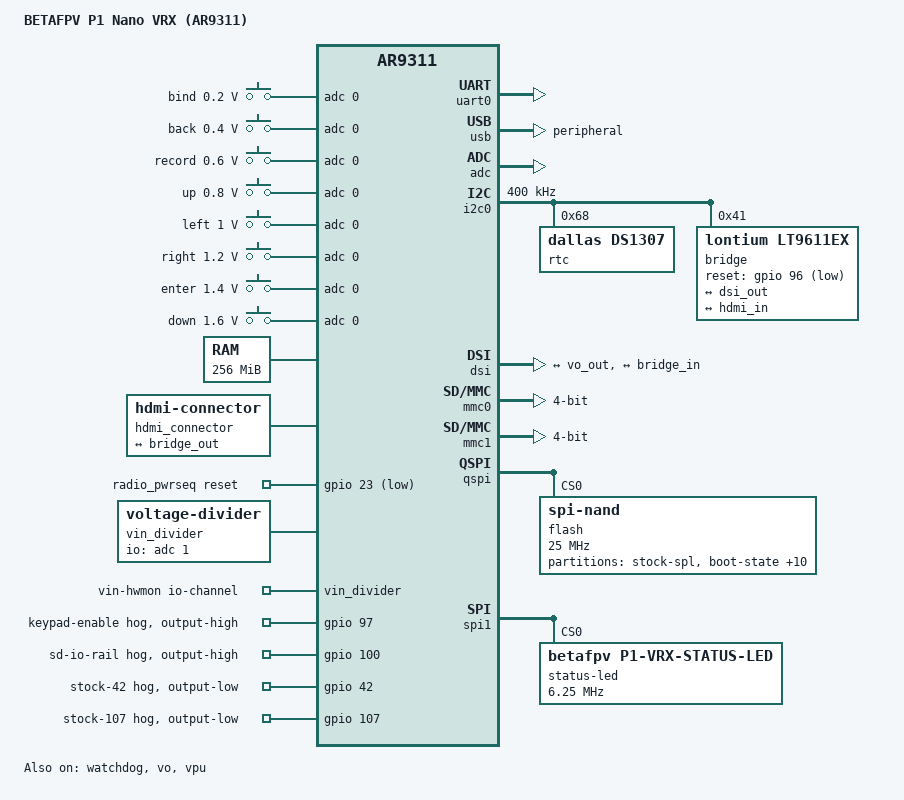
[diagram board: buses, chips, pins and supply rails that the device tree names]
// SPDX-License-Identifier: GPL-2.0-or-later
/* BETAFPV P1 Nano VRX (AR9311 + AR8030 over SDIO, stock board "c401",
 * hardware V2.3). Wiring from the unit's stock 2.0.8 device tree, startup
 * scripts and logs: radio reset GPIO23, SD I/O rail GPIO100, the P1 ADC key
 * ladder on channel 0, DSI to a Lontium LT9611EX HDMI bridge on I2C0 0x41
 * (interrupt GPIO94; reset GPIO96 is inferred from what stock exports).
 * Same SPL, A/B flash layout and CPU handoff as the P1 Air: fpvOS in the
 * bank stock is not running from, the stock firmware kept in the other.
 */
/dts-v1/;
#include "ar9311.dtsi"
#include <dt-bindings/input/input.h>

/ {
	model = "BETAFPV P1 Nano VRX (AR9311)";
	compatible = "betafpv,p1-nano-vrx", "artosyn,proxima-9311";

	aliases {
		serial0 = &uart0;
		i2c0 = &i2c0;
	};

	chosen {
		stdout-path = "serial0:1152000n8";
		bootargs = "console=ttyS0,1152000 earlycon loglevel=7 mem=148M rdinit=/init";
	};

	/* The SPL reads this word at reset; bit 0 requests its USB loader. */
	reboot-scratch@a106138 {
		compatible = "syscon", "simple-mfd";
		reg = <0 0x0a106138 0 4>;
		reboot-mode {
			compatible = "syscon-reboot-mode";
			offset = <0>;
			mode-normal = <2>;
			mode-bootloader = <3>;
		};
	};

	/* Stock's ladder: the same levels and keys as the P1 goggles, under the
	 * goggles' name - the evdev device kestrel-gnd's P1 keypad opens. */
	p1-goggle-keys {
		compatible = "adc-keys";
		io-channels = <&adc 0>;
		io-channel-names = "buttons";
		poll-interval = <10>;
		keyup-threshold-microvolt = <0>;
		button-bind { label = "bind"; linux,code = <KEY_CONNECT>; press-threshold-microvolt = <200000>; };
		button-back { label = "back"; linux,code = <KEY_BACK>; press-threshold-microvolt = <400000>; };
		button-record { label = "record"; linux,code = <KEY_RECORD>; press-threshold-microvolt = <600000>; };
		button-up { label = "up"; linux,code = <KEY_UP>; press-threshold-microvolt = <800000>; };
		button-left { label = "left"; linux,code = <KEY_LEFT>; press-threshold-microvolt = <1000000>; };
		button-right { label = "right"; linux,code = <KEY_RIGHT>; press-threshold-microvolt = <1200000>; };
		button-enter { label = "enter"; linux,code = <KEY_ENTER>; press-threshold-microvolt = <1400000>; };
		button-down { label = "down"; linux,code = <KEY_DOWN>; press-threshold-microvolt = <1600000>; };
	};

	/* Stock: 256 MiB DRAM, 148 MiB for Linux (mem=148m), the rest media. */
	memory@20000000 {
		device_type = "memory";
		reg = <0 0x20000000 0 0x10000000>;
	};
	reserved-memory {
		#address-cells = <2>;
		#size-cells = <2>;
		ranges;
		codec_memory: media@29400000 {
			compatible = "shared-dma-pool";
			reg = <0 0x29400000 0 0x06b00000>;
			no-map;
		};
		loader@2ff00000 {
			reg = <0 0x2ff00000 0 0x00100000>;
			no-map;
		};
	};

	hdmi_connector {
		compatible = "hdmi-connector";
		type = "a";
		port {
			hdmi_in: endpoint {
				remote-endpoint = <&bridge_out>;
			};
		};
	};

	/* Stock start_ar813x_gnd.sh resets the radio on GPIO23. */
	radio_pwrseq: radio-pwrseq {
		compatible = "artosyn,ar8030-pwrseq";
		reset-gpios = <&gpio 23 GPIO_ACTIVE_LOW>;
	};
};

&cpu0 { enable-method = "ar-spin-table"; };
&cpu1 {
	enable-method = "ar-spin-table";
	cpu-release-addr = <0 0x00100000>;
};
&uart0 { status = "okay"; };
&usb {
	status = "okay";
	dr_mode = "peripheral";
};
&watchdog { status = "okay"; };

/* The SoC temperature, for the receiver's canopy (fpvOS ar9311_temp). Its
 * window overlaps the SAR ADC's (the keypad's channel 0): no supply channel
 * is given here, so it never samples the ADC behind the keypad driver. */
&soc_temp {
	status = "okay";
};
&adc { status = "okay"; };

&gpio {
	status = "okay";
	/* Stock adc.sh enables the keypad on GPIO97 before reading ADC0. */
	keypad-enable-hog {
		gpio-hog;
		gpios = <97 GPIO_ACTIVE_HIGH>;
		output-high;
		line-name = "keypad-enable";
	};
	/* GPIO100 is the SD I/O rail (stock's "vqmmc sdmmc1", 3.3 V when high).
	 * Stock keeps it high.
	 */
	sd-io-rail-hog {
		gpio-hog;
		gpios = <100 GPIO_ACTIVE_HIGH>;
		output-high;
		line-name = "sd-io-rail";
	};
	/* Levels stock's video application leaves on lines 42 and 107
	 * (function on this board not identified), held the same way here.
	 */
	stock-42-hog {
		gpio-hog;
		gpios = <42 GPIO_ACTIVE_HIGH>;
		output-low;
		line-name = "stock-42";
	};
	stock-107-hog {
		gpio-hog;
		gpios = <107 GPIO_ACTIVE_HIGH>;
		output-low;
		line-name = "stock-107";
	};
};

/* Stock enables I2C0 (HDMI bridge) and I2C4 (nothing answers there).
 * I2C0 also has the battery-backed DS1307 at 0x68 that stock declares:
 * the system clock comes from it at boot, and SET_TIME writes it (UTC).
 */
&i2c0 {
	status = "okay";
	clock-frequency = <400000>;
	i2c-sda-hold-time-ns = <300>;
	i2c-sda-falling-time-ns = <300>;
	i2c-scl-falling-time-ns = <300>;

	rtc@68 {
		compatible = "dallas,ds1307";
		reg = <0x68>;
	};

	/* The bridge runs its own firmware: it follows the DSI input and
	 * does the DDC itself. The host resets it, asks it for hot-plug and
	 * the EDID, and turns the HDMI output on and off.
	 */
	bridge@41 {
		compatible = "lontium,lt9611ex";
		reg = <0x41>;
		reset-gpios = <&gpio 96 GPIO_ACTIVE_LOW>;
		/* GPIO94 is its interrupt line; the SoC GPIO driver has no
		 * interrupts yet, so the driver polls for hot-plug.
		 */
		ports {
			#address-cells = <1>;
			#size-cells = <0>;
			port@0 {
				reg = <0>;
				bridge_in: endpoint {
					remote-endpoint = <&dsi_out>;
				};
			};
			port@2 {
				reg = <2>;
				bridge_out: endpoint {
					remote-endpoint = <&hdmi_in>;
				};
			};
		};
	};
};

/* Stock's 1080p60 output: the CEA raster on four 928.8 Mbps lanes, as the
 * Ascent receiver's.
 */
&vo {
	status = "okay";
	artosyn,display-profile = "ascent-hdmi";
	port {
		vo_out: endpoint { remote-endpoint = <&dsi_in>; };
	};
};
&dsi {
	status = "okay";
	artosyn,display-profile = "ascent-hdmi";
	ports {
		#address-cells = <1>;
		#size-cells = <0>;
		port@0 {
			reg = <0>;
			dsi_in: endpoint { remote-endpoint = <&vo_out>; };
		};
		port@1 {
			reg = <1>;
			dsi_out: endpoint { remote-endpoint = <&bridge_in>; };
		};
	};
};

/* The unit's own decoder blob is the same file as the P1 goggles'
 * (SHA-256 308b9635...), so the same package profile is used.
 */
&vpu {
	status = "okay";
	memory-region = <&codec_memory>;
	firmware-name = "artosyn/p1-goggle-chagall.bin";
};

&mmc_clocks {
	status = "okay";
	artosyn,clock-config = <0x87 2>, <0x80 0>;
};
/* AR8030 on SDIO. */
&mmc0 {
	status = "okay";
	clock-frequency = <100000000>;
	max-frequency = <50000000>;
	bus-width = <4>;
	cap-sd-highspeed;
	cap-sdio-irq;
	broken-cd;
	no-mmc;
	no-sd;
	no-1-8-v;
	mmc-pwrseq = <&radio_pwrseq>;
};
/* SD card. */
&mmc1 {
	status = "okay";
	clock-frequency = <100000000>;
	max-frequency = <50000000>;
	card-detect-delay = <200>;
	bus-width = <4>;
	cap-sd-highspeed;
	disable-wp;
	no-1-8-v;
	no-mmc;
	no-sdio;
};

/* P1 A/B layout. Bank 0 (kernel0/dtb0/userapp0) is fpvOS; bank 1 holds the
 * stock firmware the unit shipped running and is read-only here, as are the
 * SPL, the boot loaders and factory calibration. The updater switches banks
 * in boot-state (gpt0/gpt1) and keeps its state in usr_data.
 */
&qspi_clock { status = "okay"; };
&qspi {
	status = "okay";
	clocks = <&qspi_clock>;
	flash@0 {
		compatible = "spi-nand";
		reg = <0>;
		spi-max-frequency = <25000000>;
		partitions {
			compatible = "fixed-partitions";
			#address-cells = <1>;
			#size-cells = <1>;
			partition@0 { label = "stock-spl"; reg = <0 0x100000>; read-only; };
			partition@100000 { label = "boot-state"; reg = <0x100000 0x80000>; };
			partition@180000 { label = "stock-vendor"; reg = <0x180000 0x80000>; read-only; };
			partition@200000 { label = "factory"; reg = <0x200000 0x600000>; read-only; };
			partition@800000 { label = "stock-bootloaders"; reg = <0x800000 0x240000>; read-only; };
			/* Both banks, under the stock names: an install picks the bank
			 * (fpvos-update: the one holding fpvOS, else the one not booted)
			 * and its checks, not the DT, keep the stock bank unwritten. */
			partition@a40000 { label = "kernel0"; reg = <0xa40000 0x600000>; };
			partition@1040000 { label = "kernel1"; reg = <0x1040000 0x600000>; };
			partition@1640000 { label = "dtb0"; reg = <0x1640000 0x60000>; };
			partition@16a0000 { label = "dtb1"; reg = <0x16a0000 0x60000>; };
			partition@1700000 { label = "userapp0"; reg = <0x1700000 0x2d00000>; };
			partition@4400000 { label = "userapp1"; reg = <0x4400000 0x2d00000>; };
			partition@7100000 { label = "usr_data"; reg = <0x7100000 0x600000>; };
		};
	};
};

/* Stock status chain: three GRB LEDs, encoded at 6.25 MHz in SPI mode 3. */
&spi1 {
	status = "okay";
	status-led@0 {
		compatible = "betafpv,p1-vrx-status-led";
		reg = <0>;
		spi-max-frequency = <6250000>;
		spi-cpol;
		spi-cpha;
	};
};

/* The supply (RX SUPPLY): SAR ADC channel 1 through a 100k/5.1k divider, as
 * stock reads it (arlink_fpv 2.0.8 hamingVrxGndGetVoltage: in_voltage1_input
 * / 0.048525). Through the ADC's own driver, which the keypad's channel 0
 * shares, so the two never sample at once; kestrel-gnd reads vin_hwmon. */
/ {
	vin_divider: vin-divider {
		compatible = "voltage-divider";
		io-channels = <&adc 1>;
		#io-channel-cells = <0>;
		output-ohms = <5100>;
		full-ohms = <105100>;
	};
	vin-hwmon {
		compatible = "iio-hwmon";
		io-channels = <&vin_divider>;
	};
};
